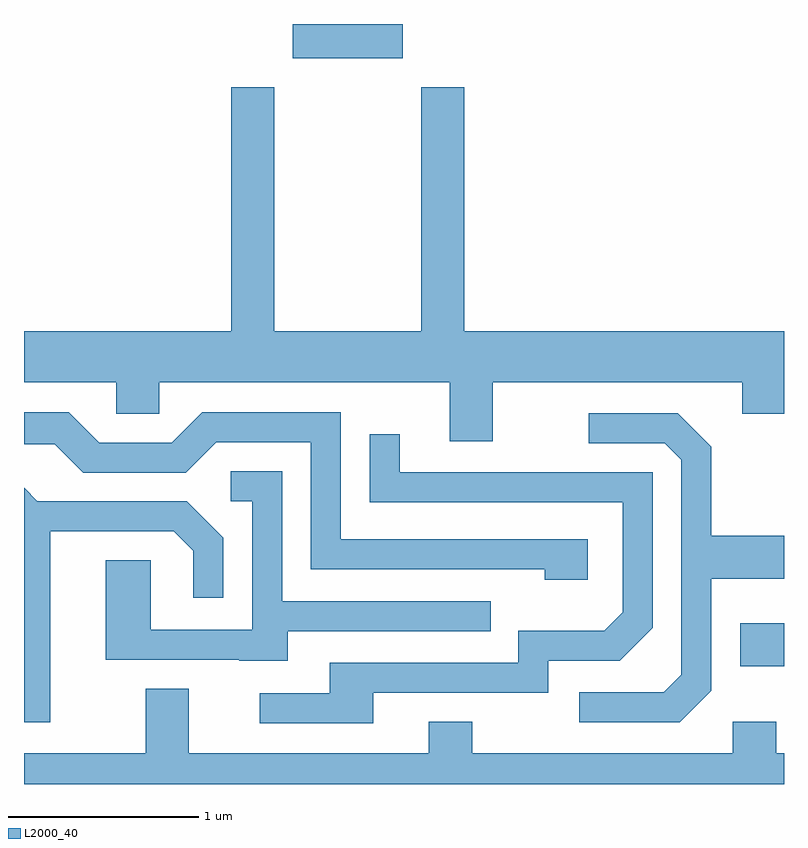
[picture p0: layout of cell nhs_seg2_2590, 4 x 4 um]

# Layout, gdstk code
import gdstk
lib = gdstk.Library(unit=1e-6, precision=1e-09)
def R(c, l, rs):  # rectangles x0, y0, x1, y1
    for r in rs: c.add(gdstk.rectangle(r[:2], r[2:], *l))
def P(c, l, *ps):  # polygons
    for p in ps: c.add(gdstk.Polygon(p, *l))
L2000_40 = (2000, 40)

nhs_seg2_2590 = lib.new_cell('nhs_seg2_2590')
R(nhs_seg2_2590, L2000_40, [(265.381,1002.421,265.611,1002.649), (263.026,1005.621,263.604,1005.802)])
P(nhs_seg2_2590, L2000_40, [(264.079,1003.916),(265.391,1003.916),(265.391,1003.751),(265.611,1003.751),(265.611,1004.184),(263.929,1004.184),(263.929,1005.469),(263.701,1005.469),(263.701,1004.184),(262.929,1004.184),(262.929,1005.469),(262.701,1005.469),(262.701,1004.184),(261.611,1004.184),(261.611,1003.916),(262.096,1003.916),(262.096,1003.751),(262.324,1003.751),(262.324,1003.916),(263.851,1003.916),(263.851,1003.606),(264.079,1003.606)],
  [(264.579,1003.089),(263.279,1003.089),(263.279,1003.759),(262.549,1003.759),(262.389,1003.599),(262.007,1003.599),(261.847,1003.759),(261.611,1003.759),(261.611,1003.591),(261.774,1003.591),(261.924,1003.441),(262.462,1003.441),(262.622,1003.601),(263.121,1003.601),(263.121,1002.931),(264.351,1002.931),(264.351,1002.876),(264.579,1002.876)],
  [(265.229,1002.294),(265.229,1002.881),(265.611,1002.881),(265.611,1003.109),(265.229,1003.109),(265.229,1003.577),(265.052,1003.754),(264.583,1003.754),(264.583,1003.596),(264.984,1003.596),(265.071,1003.509),(265.071,1002.377),(264.979,1002.284),(264.533,1002.284),(264.533,1002.126),(265.062,1002.126)],
  [(263.449,1002.281),(264.369,1002.281),(264.369,1002.451),(264.747,1002.451),(264.919,1002.624),(264.919,1003.444),(263.589,1003.444),(263.589,1003.643),(263.431,1003.643),(263.431,1003.286),(264.761,1003.286),(264.761,1002.707),(264.664,1002.609),(264.211,1002.609),(264.211,1002.439),(263.221,1002.439),(263.221,1002.279),(262.853,1002.279),(262.853,1002.121),(263.449,1002.121)],
  [(262.999,1002.606),(264.068,1002.606),(264.068,1002.764),(262.969,1002.764),(262.969,1003.449),(262.698,1003.449),(262.698,1003.291),(262.811,1003.291),(262.811,1002.614),(262.279,1002.614),(262.279,1002.979),(262.041,1002.979),(262.041,1002.456),(262.745,1002.456),(262.745,1002.451),(262.999,1002.451)],
  [(261.749,1003.131),(262.399,1003.131),(262.501,1003.029),(262.501,1002.783),(262.659,1002.783),(262.659,1003.097),(262.467,1003.289),(261.682,1003.289),(261.611,1003.36),(261.611,1002.126),(261.749,1002.126)],
  [(265.611,1001.964),(265.569,1001.964),(265.569,1002.129),(265.341,1002.129),(265.341,1001.964),(263.969,1001.964),(263.969,1002.129),(263.741,1002.129),(263.741,1001.964),(262.479,1001.964),(262.479,1002.304),(262.251,1002.304),(262.251,1001.964),(261.611,1001.964),(261.611,1001.802),(265.611,1001.802)])

lib.write_gds('nhs_seg2_2590.gds')
